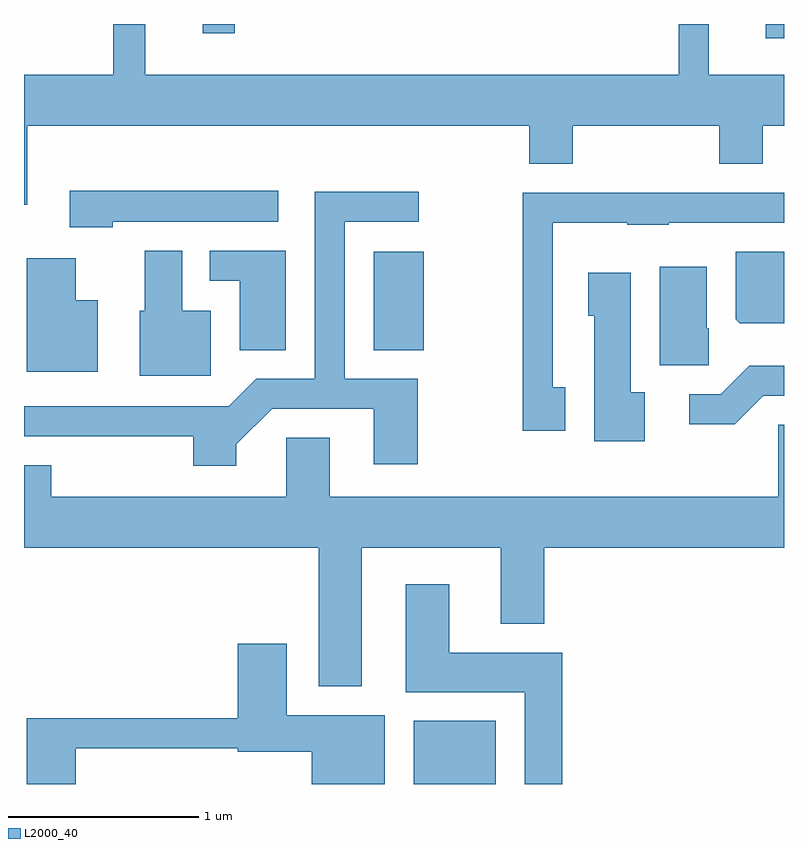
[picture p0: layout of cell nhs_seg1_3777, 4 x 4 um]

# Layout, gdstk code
import gdstk
lib = gdstk.Library(unit=1e-6, precision=1e-09)
def R(c, l, rs):  # rectangles x0, y0, x1, y1
    for r in rs: c.add(gdstk.rectangle(r[:2], r[2:], *l))
def P(c, l, *ps):  # polygons
    for p in ps: c.add(gdstk.Polygon(p, *l))
L2000_40 = (2000, 40)

nhs_seg1_3777 = lib.new_cell('nhs_seg1_3777')
R(nhs_seg1_3777, L2000_40, [(301.661,851.712,302.094,852.044), (301.451,853.996,301.714,854.514), (303.516,855.638,303.611,855.712), (300.551,855.663,300.719,855.712)])
P(nhs_seg1_3777, L2000_40, [(299.629,855.176),(302.271,855.176),(302.271,854.976),(302.499,854.976),(302.499,855.176),(303.271,855.176),(303.271,854.976),(303.499,854.976),(303.499,855.176),(303.611,855.176),(303.611,855.444),(303.214,855.444),(303.214,855.712),(303.056,855.712),(303.056,855.444),(300.249,855.444),(300.249,855.712),(300.081,855.712),(300.081,855.444),(299.611,855.444),(299.611,854.761),(299.629,854.761)],
  [(300.079,854.671),(300.948,854.671),(300.948,854.834),(299.851,854.834),(299.851,854.641),(300.079,854.641)],
  [(300.729,853.499),(300.917,853.686),(301.451,853.686),(301.451,853.396),(301.684,853.396),(301.684,853.844),(301.299,853.844),(301.299,854.671),(301.688,854.671),(301.688,854.829),(301.141,854.829),(301.141,853.844),(300.834,853.844),(300.689,853.699),(299.611,853.699),(299.611,853.541),(300.501,853.541),(300.501,853.386),(300.729,853.386)],
  [(302.459,853.799),(302.394,853.799),(302.394,854.666),(302.785,854.666),(302.785,854.656),(303.005,854.656),(303.005,854.666),(303.611,854.666),(303.611,854.824),(302.236,854.824),(302.236,853.571),(302.459,853.571)],
  [(300.594,854.204),(300.444,854.204),(300.444,854.519),(300.246,854.519),(300.246,854.204),(300.221,854.204),(300.221,853.861),(300.594,853.861)],
  [(300.989,854.519),(300.588,854.519),(300.588,854.361),(300.746,854.361),(300.746,853.996),(300.989,853.996)],
  [(303.611,854.514),(303.356,854.514),(303.356,854.157),(303.377,854.136),(303.611,854.136)],
  [(299.999,854.259),(299.884,854.259),(299.884,854.479),(299.626,854.479),(299.626,853.881),(299.999,853.881)],
  [(303.214,854.11),(303.204,854.11),(303.204,854.434),(302.956,854.434),(302.956,853.916),(303.214,853.916)],
  [(302.879,853.774),(302.804,853.774),(302.804,854.404),(302.581,854.404),(302.581,854.176),(302.611,854.176),(302.611,853.516),(302.879,853.516)],
  [(303.502,853.756),(303.611,853.756),(303.611,853.914),(303.429,853.914),(303.279,853.764),(303.113,853.764),(303.113,853.606),(303.352,853.606)],
  [(301.389,852.956),(302.121,852.956),(302.121,852.556),(302.349,852.556),(302.349,852.956),(303.611,852.956),(303.611,853.604),(303.581,853.604),(303.581,853.224),(301.219,853.224),(301.219,853.534),(300.991,853.534),(300.991,853.224),(299.754,853.224),(299.754,853.389),(299.611,853.389),(299.611,852.956),(301.161,852.956),(301.161,852.226),(301.389,852.226)],
  [(302.444,852.404),(301.849,852.404),(301.849,852.764),(301.621,852.764),(301.621,852.196),(302.246,852.196),(302.246,851.712),(302.444,851.712)],
  [(299.884,851.901),(300.736,851.901),(300.736,851.881),(301.126,851.881),(301.126,851.712),(301.509,851.712),(301.509,852.074),(300.994,852.074),(300.994,852.449),(300.736,852.449),(300.736,852.059),(299.626,852.059),(299.626,851.712),(299.884,851.712)])

lib.write_gds('nhs_seg1_3777.gds')
